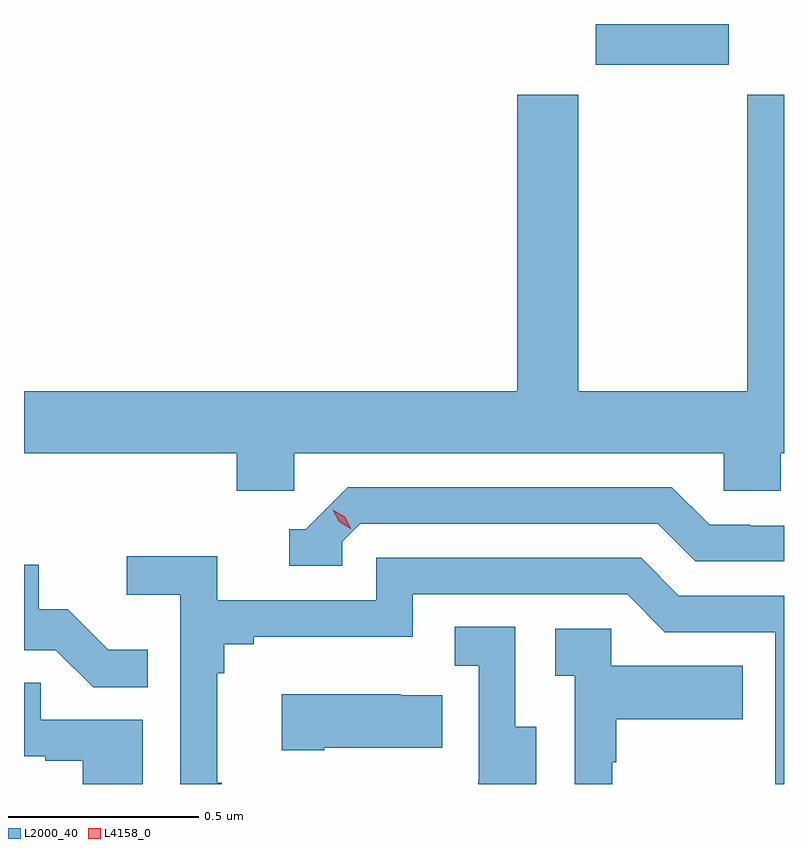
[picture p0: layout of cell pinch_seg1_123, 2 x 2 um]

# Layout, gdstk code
import gdstk
lib = gdstk.Library(unit=1e-6, precision=1e-09)
def R(c, l, rs):  # rectangles x0, y0, x1, y1
    for r in rs: c.add(gdstk.rectangle(r[:2], r[2:], *l))
def P(c, l, *ps):  # polygons
    for p in ps: c.add(gdstk.Polygon(p, *l))
L2000_40 = (2000, 40)
L4158_0 = (4158, 0)

pinch_seg1_123 = lib.new_cell('pinch_seg1_123')
R(pinch_seg1_123, L2000_40, [(1073.786,547.427,1074.136,547.534)])
P(pinch_seg1_123, L2000_40, [(1072.992,546.404),(1074.123,546.404),(1074.123,546.306),(1074.273,546.306),(1074.273,546.404),(1074.281,546.404),(1074.281,547.348),(1074.184,547.348),(1074.184,546.568),(1073.739,546.568),(1073.739,547.348),(1073.579,547.348),(1073.579,546.568),(1072.281,546.568),(1072.281,546.404),(1072.841,546.404),(1072.841,546.306),(1072.992,546.306)],
  [(1073.118,546.171),(1073.166,546.219),(1073.949,546.219),(1074.048,546.12),(1074.281,546.12),(1074.281,546.213),(1074.192,546.213),(1074.192,546.216),(1074.085,546.216),(1073.986,546.315),(1073.133,546.315),(1073.022,546.204),(1072.979,546.204),(1072.979,546.108),(1073.118,546.108)],
  [(1072.801,545.537),(1072.789,545.537),(1072.789,545.825),(1072.808,545.825),(1072.808,545.902),(1072.885,545.902),(1072.885,545.921),(1073.304,545.921),(1073.304,546.033),(1073.868,546.033),(1073.967,545.934),(1074.258,545.934),(1074.258,545.534),(1074.281,545.534),(1074.281,546.03),(1074.004,546.03),(1073.905,546.129),(1073.208,546.129),(1073.208,546.018),(1072.79,546.018),(1072.79,546.134),(1072.551,546.134),(1072.551,546.032),(1072.692,546.032),(1072.692,545.534),(1072.801,545.534)],
  [(1072.607,545.887),(1072.503,545.887),(1072.396,545.994),(1072.32,545.994),(1072.32,546.111),(1072.281,546.111),(1072.281,545.886),(1072.365,545.886),(1072.463,545.788),(1072.607,545.788)],
  [(1073.629,545.685),(1073.574,545.685),(1073.574,545.948),(1073.415,545.948),(1073.415,545.845),(1073.478,545.845),(1073.478,545.541),(1073.477,545.541),(1073.477,545.534),(1073.629,545.534)],
  [(1073.829,545.591),(1073.839,545.591),(1073.839,545.705),(1074.173,545.705),(1074.173,545.845),(1073.826,545.845),(1073.826,545.943),(1073.679,545.943),(1073.679,545.819),(1073.73,545.819),(1073.73,545.534),(1073.829,545.534)],
  [(1072.594,545.703),(1072.325,545.703),(1072.325,545.801),(1072.281,545.801),(1072.281,545.607),(1072.337,545.607),(1072.337,545.595),(1072.436,545.595),(1072.436,545.534),(1072.594,545.534)],
  [(1073.071,545.63),(1073.381,545.63),(1073.381,545.767),(1073.273,545.767),(1073.273,545.77),(1072.959,545.77),(1072.959,545.623),(1073.071,545.623)])
P(pinch_seg1_123, L4158_0, [(1073.142,546.205),(1073.111,546.224),(1073.094,546.256),(1073.094,546.256),(1073.094,546.256),(1073.125,546.237),(1073.142,546.205),(1073.142,546.205)])

lib.write_gds('pinch_seg1_123.gds')
